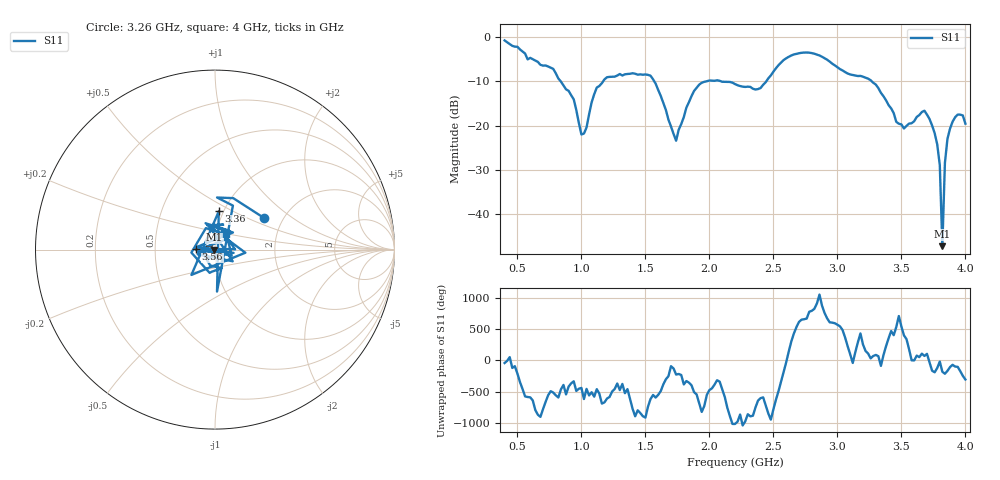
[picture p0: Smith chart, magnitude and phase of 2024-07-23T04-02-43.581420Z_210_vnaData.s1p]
!Created with skrf (http://scikit-rf.org).
# Hz S RI R 50.0
!freq ReS11 ImS11
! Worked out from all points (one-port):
!   181 points, 400 MHz to 4 GHz, reference 50 ohm
!   lowest |S11| = -47.2 dB at 3.82 GHz (marker M1), VSWR 1.01, Z = 49.6 + j0.0138 ohm
!   |S11| at or under -10 dB: 1.569 GHz to 1.978 GHz (409.5 MHz wide, 23.1 % of centre); 2.09 GHz to 2.445 GHz (355.1 MHz wide, 15.7 % of centre); 3.268 GHz to end of sweep (the widest 3 of 4)
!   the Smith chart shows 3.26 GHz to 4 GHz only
!   S11 on the Smith chart (normalised r, x): 3.26 GHz: 1.60, +0.63; 3.36 GHz: 0.95, +0.42; 3.56 GHz: 0.81, +0.00; 4 GHz: 1.11, +0.19
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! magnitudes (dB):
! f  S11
! 400 MHz  -0.8
! 780 MHz  -7.2
! 860 MHz  -10.9
! 940 MHz  -14.1
! 1 GHz  -22.0
! 1.04 GHz  -20.5
! 1.12 GHz  -11.4
! 1.3 GHz  -8.4
! 1.54 GHz  -8.7
! 1.74 GHz  -23.4
! 1.76 GHz  -21.0
! 1.92 GHz  -10.8
! 2.2 GHz  -10.6
! 2.4 GHz  -11.5
! 2.66 GHz  -3.9
! 3.1 GHz  -8.5
! 3.26 GHz  -9.8
! 3.36 GHz  -13.4
! 3.46 GHz  -19.2
! 3.56 GHz  -19.6
! 3.68 GHz  -16.7
! 3.76 GHz  -21.7
! 3.8 GHz  -28.9
! 3.82 GHz  -47.2
! 3.84 GHz  -28.4
! 3.86 GHz  -23.0
! 3.94 GHz  -17.5
! 4 GHz  -19.6
